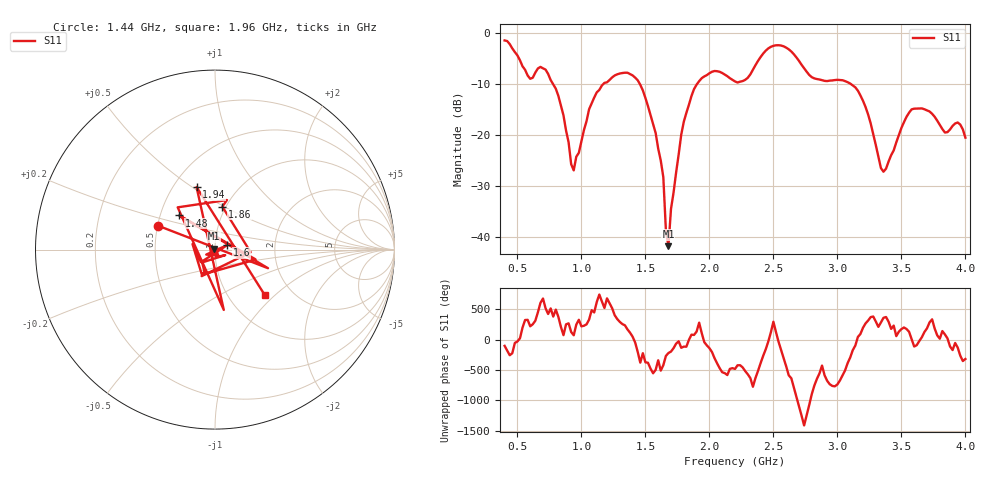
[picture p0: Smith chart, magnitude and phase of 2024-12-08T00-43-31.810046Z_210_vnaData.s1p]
!Created with skrf (http://scikit-rf.org).
# Hz S RI R 50.0
!freq ReS11 ImS11
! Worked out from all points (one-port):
!   181 points, 400 MHz to 4 GHz, reference 50 ohm
!   lowest |S11| = -41.8 dB at 1.68 GHz (marker M1), VSWR 1.02, Z = 49.4 + j0.525 ohm
!   |S11| at or under -10 dB: 779.3 MHz to 1.169 GHz (389.7 MHz wide, 40 % of centre); 1.458 GHz to 1.902 GHz (443.8 MHz wide, 26.4 % of centre); 3.108 GHz to end of sweep
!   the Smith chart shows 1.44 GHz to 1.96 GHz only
!   S11 on the Smith chart (normalised r, x): 1.44 GHz: 0.50, +0.15; 1.48 GHz: 0.63, +0.26; 1.6 GHz: 1.15, +0.06; 1.86 GHz: 0.96, +0.49; 1.94 GHz: 0.65, +0.52; 1.96 GHz: 1.46, -0.87
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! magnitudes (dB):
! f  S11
! 400 MHz  -1.4
! 600 MHz  -8.9
! 720 MHz  -7.1
! 860 MHz  -16.1
! 940 MHz  -26.9
! 1.1 GHz  -12.6
! 1.3 GHz  -7.9
! 1.44 GHz  -9.2
! 1.48 GHz  -11.2
! 1.6 GHz  -22.6
! 1.64 GHz  -28.3
! 1.66 GHz  -38.7
! 1.68 GHz  -41.8
! 1.7 GHz  -34.5
! 1.76 GHz  -23.8
! 1.86 GHz  -12.3
! 1.94 GHz  -8.8
! 1.96 GHz  -8.4
! 2.2 GHz  -9.4
! 2.48 GHz  -2.6
! 2.66 GHz  -4.1
! 2.8 GHz  -8.6
! 3.1 GHz  -9.8
! 3.22 GHz  -14.5
! 3.36 GHz  -27.2
! 3.56 GHz  -15.6
! 3.94 GHz  -17.5
! 4 GHz  -20.5
